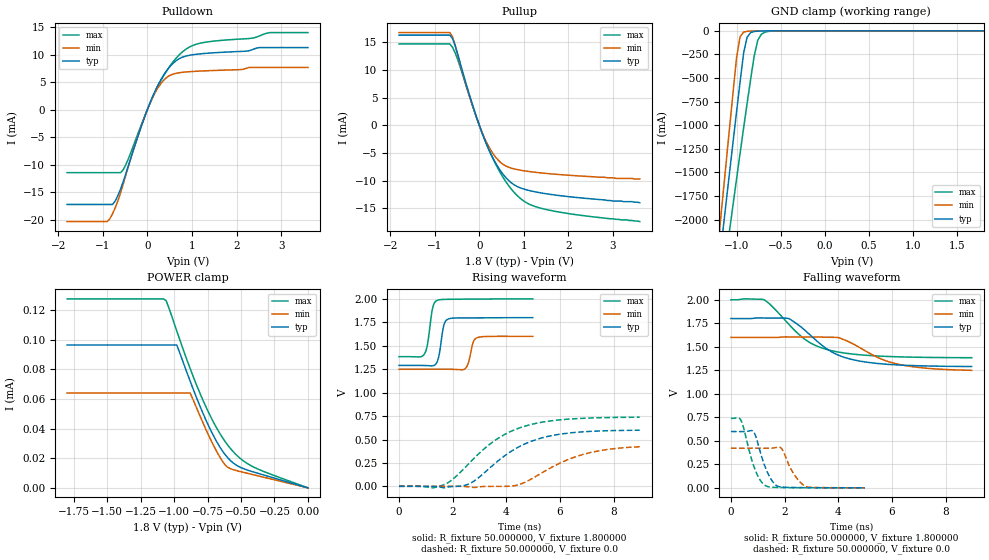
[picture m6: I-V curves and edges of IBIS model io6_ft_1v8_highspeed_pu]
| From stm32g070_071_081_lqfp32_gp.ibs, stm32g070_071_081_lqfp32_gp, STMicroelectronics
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|   Model io6_ft_1v8_highspeed_pu
[Model]  io6_ft_1v8_highspeed_pu
Model_type I/O
Polarity   Non-Inverting
Enable   Active-Low
Vinl =   0.540000V
Vinh =   1.260000V
Vmeas =  0.900000V
Cref =   50.000000pF
Rref =   100.000000M
Vref =   0.0V
C_comp   1.277600pF   1.236700pF   1.315100pF
[Temperature Range]   25.000000   -40.000000   0.125000k
[Pullup Reference]   1.800000V   1.600000V   2.000000V
[Pulldown Reference]   0.0V   0.0V   0.0V
[POWER Clamp Reference]   1.800000V   1.600000V   2.000000V
[GND Clamp Reference]   0.0V   0.0V   0.0V
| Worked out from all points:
|   slope of the pulldown table from 0 to 0.27 V, typ, clamps not added: 54.7 ohm
|   slope of the pullup table from 0 to 0.27 V, typ, clamps not added: 50.6 ohm
|   GND clamp passes 1 mA (typ) near -0.66 V on its own axis
|   rising waveform, R_fixture 50.000000, V_fixture 1.800000: 20-80 % time 166ps typ, 169ps min, 180ps max; typ from 1.29 V to 1.8 V
|   rising waveform, R_fixture 50.000000, V_fixture 0.0: 20-80 % time 1.83ns typ, 1.86ns min, 1.92ns max; typ from 0.001 V to 0.599 V
|   falling waveform, R_fixture 50.000000, V_fixture 1.800000: 20-80 % time 1.51ns typ, 1.6ns min, 1.49ns max; typ from 1.8 V to 1.29 V
|   falling waveform, R_fixture 50.000000, V_fixture 0.0: 20-80 % time 441ps typ, 482ps min, 451ps max; typ from 0.599 V to 0.001 V
[Pulldown]
|Voltage   I(typ)   I(min)   I(max)
-1.8V     -17.22mA   -20.33mA   -11.45mA
-900mV    -17.22mA   -20.33mA   -11.45mA
-720mV    -16.58mA   -17.82mA   -11.45mA
-600mV    -14.41mA   -15.08mA   -11.45mA
-480mV    -11.58mA   -11.79mA   -9.955mA
0V        0A         0A         0A
240mV     4.49mA     3.999mA    4.291mA
480mV     7.563mA    6.085mA    7.612mA
780mV     9.487mA    6.76mA     10.43mA
1.14V     10.08mA    6.976mA    11.96mA
2.76V     11.26mA    7.647mA    13.98mA
3.6V      11.26mA    7.647mA    13.98mA
[Pullup]
|Voltage   I(typ)   I(min)   I(max)
-1.8V     16.27mA    16.74mA    14.68mA
-660mV    16.27mA    16.74mA    14.68mA
-600mV    15.66mA    15.96mA    14.07mA
-480mV    12.75mA    12.58mA    11.77mA
-180mV    4.421mA    4.232mA    4.226mA
120mV     -2.604mA   -2.366mA   -2.563mA
420mV     -7.546mA   -6.272mA   -7.834mA
600mV     -9.499mA   -7.385mA   -10.25mA
780mV     -10.75mA   -7.883mA   -12.12mA
1.08V     -11.72mA   -8.32mA    -14.1mA
1.5V      -12.38mA   -8.703mA   -15.22mA
3.6V      -14mA      -9.7mA     -17.4mA
[GND_clamp]
|Voltage   I(typ)   I(min)   I(max)
-1.8V     -7.471A    -7.973A    -7.298A
-1.2V     -2.489A    -2.18A     -2.954A
-1.16V    -2.16A     -1.797A    -2.674A
-1.08V    -1.505A    -1.034A    -2.118A
-1V       -857.9mA   -283.1mA   -1.568A
-960mV    -540.4mA   -62.14mA   -1.296A
-920mV    -234.4mA   -13.75mA   -1.028A
-880mV    -66.29mA   -4.855mA   -765.3mA
-800mV    -6.505mA   -2.056mA   -266mA
-760mV    -3.074mA   -1.45mA    -100.4mA
-680mV    -1.215mA   -557.1uA   -14.19mA
1.8V      0A         0A         0A
[POWER_clamp]
|Voltage   I(typ)   I(min)   I(max)
-1.8V     96.34uA    63.94uA    127.5uA
-1.08V    96.34uA    63.94uA    127.5uA
-1.06V    96.34uA    63.94uA    126.3uA
-980mV    96.34uA    63.94uA    105.8uA
-880mV    71.93uA    63.94uA    80.41uA
-800mV    53.62uA    47.15uA    62.36uA
-720mV    37.64uA    31.24uA    46.77uA
-640mV    25.08uA    18.16uA    34.09uA
-600mV    20.4uA     13.93uA    28.92uA
-520mV    14.54uA    11.31uA    20.97uA
-420mV    11.06uA    9.102uA    14.71uA
0V        0A         0A         0A
[Ramp]
| variable   typ   min   max
dV/dt_r  0.34953/1.75108n   0.20693/1.41820n   0.43527/1.86936n
dV/dt_f  0.29988/1.46261n   0.18882/1.35156n   0.36630/1.46807n
R_load = 50.000000
[Rising Waveform]
R_fixture= 50.000000
V_fixture= 1.800000
V_fixture_min= 1.600000
V_fixture_max= 2.000000
|time   V(typ)   V(min)   V(max)
0s        1.29V      1.249V     1.384V
940.9ps   1.289V     1.249V     1.41V
1.061ns   1.288V     1.25V      1.516V
1.261ns   1.287V     1.25V      1.912V
1.421ns   1.329V     1.25V      1.983V
1.662ns   1.71V      1.25V      1.994V
1.822ns   1.783V     1.249V     1.995V
2.482ns   1.797V     1.261V     1.997V
2.893ns   1.797V     1.584V     1.998V
4.985ns   1.8V       1.6V       2V
[Rising Waveform]
R_fixture= 50.000000
V_fixture= 0.0
V_fixture_min= 0.0
V_fixture_max= 0.0
|time   V(typ)   V(min)   V(max)
0s        1.129mV    851.3uV    1.639mV
1.568ns   -8.999mV   844.3uV    7.949mV
1.982ns   -1.112mV   988.9uV    71.76mV
2.505ns   15.57mV    -2.566mV   214.1mV
3.622ns   255.9mV    787.1uV    499.6mV
4.324ns   399.1mV    8.83mV     605.8mV
4.757ns   461.1mV    53.01mV    648mV
6.595ns   576.5mV    317.6mV    722.5mV
7.748ns   593.5mV    393.7mV    733.9mV
8.973ns   599.2mV    422.6mV    738.1mV
[Falling Waveform]
R_fixture= 50.000000
V_fixture= 1.800000
V_fixture_min= 1.600000
V_fixture_max= 2.000000
|time   V(typ)   V(min)   V(max)
0s        1.8V       1.6V       2V
1.243ns   1.806V     1.6V       1.998V
2.162ns   1.799V     1.605V     1.738V
2.883ns   1.643V     1.604V     1.555V
3.712ns   1.453V     1.601V     1.461V
4.036ns   1.408V     1.595V     1.443V
4.739ns   1.351V     1.501V     1.417V
5.477ns   1.322V     1.385V     1.402V
6.18ns    1.308V     1.318V     1.394V
8.973ns   1.29V      1.249V     1.384V
[Falling Waveform]
R_fixture= 50.000000
V_fixture= 0.0
V_fixture_min= 0.0
V_fixture_max= 0.0
|time   V(typ)   V(min)   V(max)
0s        599.2mV    422.6mV    738.1mV
390.4ps   598.8mV    422.7mV    708.9mV
840.8ps   597.7mV    422.8mV    240.3mV
1.071ns   403.8mV    422.8mV    90.67mV
1.311ns   198mV      422.3mV    20.54mV
1.622ns   43.83mV    426.1mV    5.978mV
1.862ns   9.68mV     425.9mV    4.332mV
2.372ns   4.162mV    136.2mV    3.01mV
2.793ns   2.69mV     15.75mV    2.524mV
4.985ns   1.129mV    851.3uV    1.639mV
